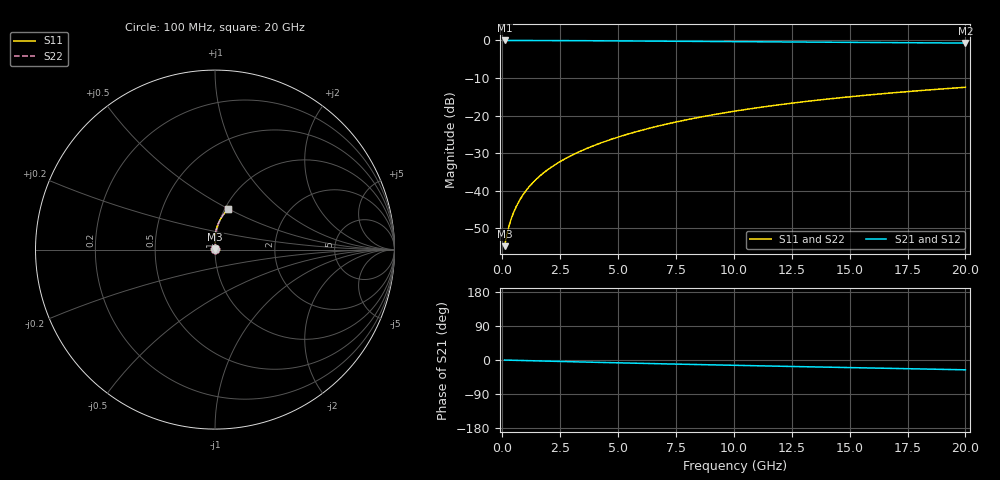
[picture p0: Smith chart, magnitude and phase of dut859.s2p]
! Touchstone file exported from HFSS 2024.1.0
!  File:  C:/UserFiles/LocalFiles/RDL_TSV_Batchsim/temp_RDL_top_859_1779855976.aedt
!  Generated:  12:28:29 PM May 27, 2026
!  Design:  RDL_top
!  Project:  temp_RDL_top_859_1779855976
!  Setup:  Setup1
!  Solution:  Sweep
! Variables:
!  dtsv = 10.80580581um
!  hbump = 3um
!  htsv = 60.44um
!  ldown = 100um
!  lrdl = 366.63um
!  p = 40
!  p1 = 49.48um
!  rhole = 1um
!  t = 450um
!  tdown = 3.915915916um
!  trdl = 4.04um
!  wdown = 15.38538539um
!  wrdl = 25.36um
# GHz S MA R 50.000000
! Terminal data exported
! Port[1] = Box2_T1
! Port[2] = Box2_T2
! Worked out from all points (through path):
!   200 points, 100 MHz to 20 GHz, reference 50 ohm
!   highest |S21| = -0.01 dB at 100 MHz (marker M1); lowest = -0.7 dB at 20 GHz (marker M2)
!   group delay of S21, straight-line fit = 3.54 ps
!   lowest |S11| = -54.7 dB at 100 MHz (marker M3), VSWR 1.00, Z = 50.1 + j0.11 ohm
!   |S11| at or under -10 dB: start of sweep to end of sweep
!   |S22| runs from -54.7 to -12.5 dB; largest |S21 - S12| = 4e-15
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0.1  0.001839 36.5  0.9985 -0.2  0.9985 -0.2  0.001839 36.5
! Gamma 0 0 0 0
! Port Impedance 50 0 50 0
0.2  0.002641 53.4  0.9984 -0.3  0.9984 -0.3  0.002641 53.5
0.3  0.003504 61.8  0.9983 -0.5  0.9983 -0.5  0.003504 61.8
0.4  0.004378 67.1  0.9982 -0.6  0.9982 -0.6  0.004378 67.1
0.5  0.005261 70.8  0.998 -0.8  0.998 -0.8  0.005261 70.8
0.6  0.006156 73.5  0.9979 -0.9  0.9979 -0.9  0.006156 73.5
0.8  0.007977 77.5  0.9977 -1.3  0.9977 -1.3  0.007977 77.5
1.1  0.01077 81.2  0.9973 -1.7  0.9973 -1.7  0.01077 81.2
1.3  0.01267 82.8  0.997 -2.0  0.997 -2.0  0.01267 82.8
1.6  0.01556 84.6  0.9965 -2.5  0.9965 -2.5  0.01556 84.6
2.1  0.02048 86.7  0.9954 -3.3  0.9954 -3.3  0.02048 86.7
2.7  0.02656 88.2  0.9937 -4.2  0.9937 -4.2  0.02656 88.2
3.5  0.03501 89.4  0.9911 -5.3  0.9911 -5.3  0.03501 89.4
4.2  0.04271 89.9  0.9884 -6.4  0.9884 -6.4  0.04271 90.0
5  0.05185 90.1  0.9851 -7.5  0.9851 -7.5  0.05185 90.1
6.8  0.07353 89.4  0.9773 -9.9  0.9773 -9.9  0.07353 89.4
8.4  0.09368 88.0  0.9701 -12.0  0.9701 -12.0  0.09369 88.0
10.1  0.1155 85.9  0.9627 -14.1  0.9627 -14.1  0.1155 85.9
11.7  0.1362 83.8  0.9559 -16.1  0.9559 -16.1  0.1362 83.8
13.4  0.1579 81.4  0.9489 -18.2  0.9489 -18.2  0.1579 81.4
16.7  0.199 76.8  0.9353 -22.1  0.9353 -22.1  0.199 76.8
20  0.2382 72.2  0.9218 -25.9  0.9218 -25.9  0.2382 72.2
